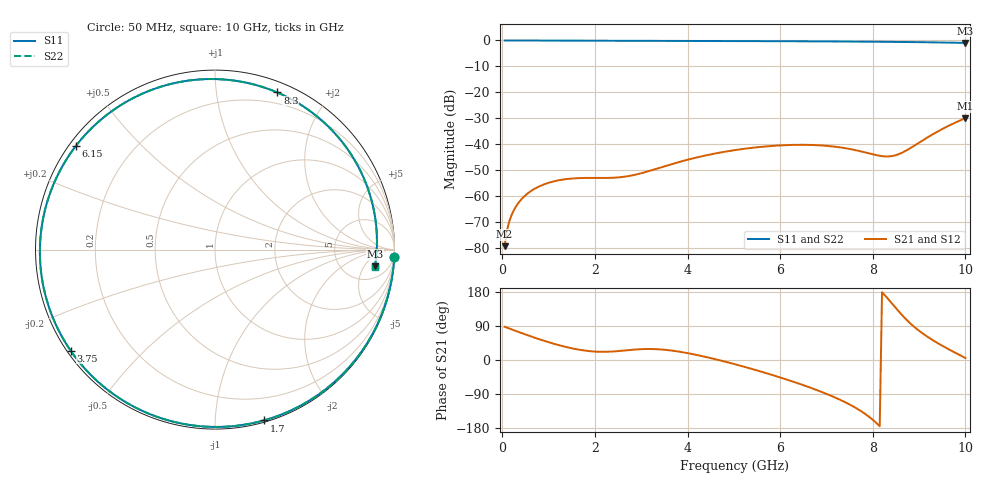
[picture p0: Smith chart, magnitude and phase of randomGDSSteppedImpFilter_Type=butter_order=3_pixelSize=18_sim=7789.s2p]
! freq	dB(S11)	phase(S11)	dB(S12)	phase(S12)
!  dB(S21)	phase(S21)	dB(S22)	phase(S22)
!S-par simulation data
#  GHz  S  DB  R 50
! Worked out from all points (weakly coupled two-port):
!   200 points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, 50 MHz to 10 GHz, reference 50 ohm
!   highest |S21| = -29.96 dB at 10 GHz (marker M1); lowest = -79.3 dB at 50 MHz (marker M2)
!   lowest |S11| = -1.0 dB at 10 GHz (marker M3), VSWR 18.24, Z = 479 - j454 ohm
!   |S11| at or under -10 dB: nowhere
!   |S22| runs from -1.0 to 0.0 dB; largest |S21 - S12| = 0
!   S11 on the Smith chart (normalised r, x): 50 MHz: 0, -49; 1.7 GHz: 0.01, -1.33; 3.75 GHz: 0.01, -0.32; 6.15 GHz: 0.02, +0.33; 8.3 GHz: 0.09, +1.47; 10 GHz: 10, -9
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0.05  -0.00 -2.3  -79.26 87.7  -79.26 87.7  -0.00 -2.3
0.1  -0.01 -4.6  -73.25 85.4  -73.25 85.4  -0.00 -4.6
0.2  -0.01 -9.2  -67.27 80.8  -67.27 80.8  -0.01 -9.2
0.35  -0.02 -16.1  -62.55 74.1  -62.55 74.1  -0.02 -16.1
0.5  -0.03 -22.9  -59.66 67.4  -59.66 67.4  -0.03 -22.9
1  -0.06 -45.0  -54.84 47.0  -54.84 47.0  -0.06 -45.0
1.7  -0.09 -74.1  -53.00 26.4  -53.00 26.4  -0.09 -74.1
1.75  -0.09 -76.0  -52.98 25.4  -52.98 25.4  -0.09 -76.0
2.5  -0.12 -104.0  -52.77 23.5  -52.77 23.5  -0.12 -104.0
3.4  -0.15 -134.1  -49.06 28.1  -49.06 28.1  -0.15 -134.1
3.75  -0.16 -145.0  -47.18 23.3  -47.18 23.3  -0.16 -145.0
4.4  -0.19 -164.6  -44.27 7.9  -44.27 7.9  -0.19 -164.6
5.05  -0.22 176.3  -42.17 -12.1  -42.17 -12.1  -0.22 176.3
6.15  -0.29 143.4  -40.31 -51.9  -40.31 -51.9  -0.29 143.4
6.7  -0.34 126.0  -40.28 -75.2  -40.28 -75.2  -0.34 126.0
7.55  -0.42 96.9  -41.97 -120.6  -41.97 -120.6  -0.42 96.9
8.3  -0.52 68.4  -44.70 165.6  -44.70 165.6  -0.52 68.3
8.35  -0.53 66.4  -44.67 158.5  -44.67 158.5  -0.53 66.3
8.65  -0.58 54.1  -43.09 116.1  -43.09 116.1  -0.58 54.0
9.25  -0.71 28.2  -36.63 55.9  -36.63 55.9  -0.71 28.1
9.65  -0.83 10.1  -32.77 27.6  -32.77 27.6  -0.83 10.0
10  -0.95 -6.0  -29.96 5.3  -29.96 5.3  -0.95 -6.1
